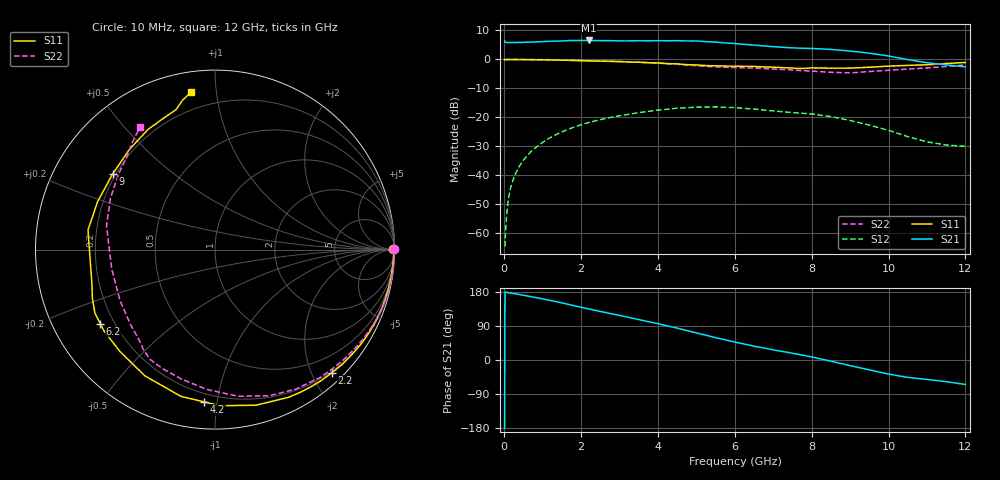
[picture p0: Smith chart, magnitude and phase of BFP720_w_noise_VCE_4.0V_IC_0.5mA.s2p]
! Infineon Technologies  Discrete & RF Semiconductors
! BFP720
! VCE =  4.0 V,  IC =  0.5 mA
! Common Emitter S-Parameters:  Aug 2012
# GHz  S  MA  R  50
!  f  S11  S21  S12  S22
! GHz  MAG  ANG  MAG  ANG  MAG  ANG  MAG  ANG
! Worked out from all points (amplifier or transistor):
!   105 points, 10 MHz to 12 GHz, reference 50 ohm
!   highest |S21| = 6.6 dB at 2.2 GHz (marker M1)
!   |S21| within 3 dB of that: start of sweep to 8.362 GHz
!   unconditionally stable (mu >= 1): 8.453 GHz to 11.98 GHz
!   at 300 MHz: K = 0.01, MSG = 22.5 dB, |S12| = -39.3 dB
!   at 3.6 GHz: K = 0.24, MSG = 12.3 dB, |S12| = -18.2 dB
!   at 12 GHz: K = 0.97, MSG = 13.7 dB, |S12| = -30.0 dB
!   lowest NFmin = 0.59 dB at 450 MHz
!   S11 on the Smith chart (normalised r, x): 10 MHz: open; 2.2 GHz: 0.18, -2.32; 4.2 GHz: 0.15, -0.92; 6.2 GHz: 0.15, -0.29; 9 GHz: 0.19, +0.32; 12 GHz: 0.10, +0.85
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0.01  0.9927 0.1  2.088 -179.8  0.0006 -36.2  0.9968 0.2
0.02  0.9953 -0.3  1.986 179.3  0.0006 69.9  0.9992 -0.3
0.07  0.995 -1.3  1.958 178.5  0.0023 83.5  0.9985 -1.1
0.13  0.9954 -2.5  1.959 177.6  0.0047 87.8  0.9992 -2.1
0.25  0.9949 -4.8  1.964 175.4  0.0091 85.6  0.9994 -4.0
0.4  0.9931 -7.7  1.976 172.7  0.0146 83.6  0.9973 -6.4
1.1  0.9816 -22.1  2.045 159.2  0.041 72.2  0.9881 -18.1
2.1  0.9495 -44.3  2.122 137.0  0.078 53.1  0.9541 -35.2
2.2  0.946 -46.5  2.126 134.7  0.0815 51.2  0.9507 -36.9
3.5  0.8965 -75.3  2.106 106.7  0.121 26.4  0.8986 -59.8
4.1  0.8595 -91.0  2.101 93.4  0.1354 14.5  0.8575 -71.9
4.2  0.851 -94.0  2.098 91.1  0.1374 12.4  0.8479 -74.2
5  0.8044 -119.1  2.088 71.5  0.1506 -4.9  0.7805 -93.4
5.5  0.7763 -133.1  1.996 58.9  0.1519 -16.0  0.7449 -104.6
6.1  0.7634 -145.6  1.855 45.2  0.1457 -28.3  0.7211 -115.1
6.2  0.7609 -147.2  1.831 43.1  0.1439 -30.2  0.7178 -116.5
7.5  0.7107 -164.9  1.585 17.8  0.1213 -50.5  0.6562 -130.3
8.5  0.7066 157.7  1.489 -3.1  0.1033 -67.2  0.6003 -151.9
9  0.7091 143.6  1.396 -14.8  0.0886 -74.8  0.5854 -169.3
10  0.7665 119.1  1.148 -37.1  0.0598 -83.4  0.6492 153.7
10.5  0.7893 110.5  0.993 -45.8  0.0466 -82.0  0.6825 142.0
12  0.8871 98.7  0.745 -64.6  0.0317 -54.9  0.7997 121.6
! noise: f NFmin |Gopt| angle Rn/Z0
0.45  0.59  0.89  6  0.89
1.8  0.89  0.79  32  0.77
2.4  1.02  0.74  86  0.57
5.5  1.58  0.61  109  0.26
10  2.85  0.65  -124  0.44
